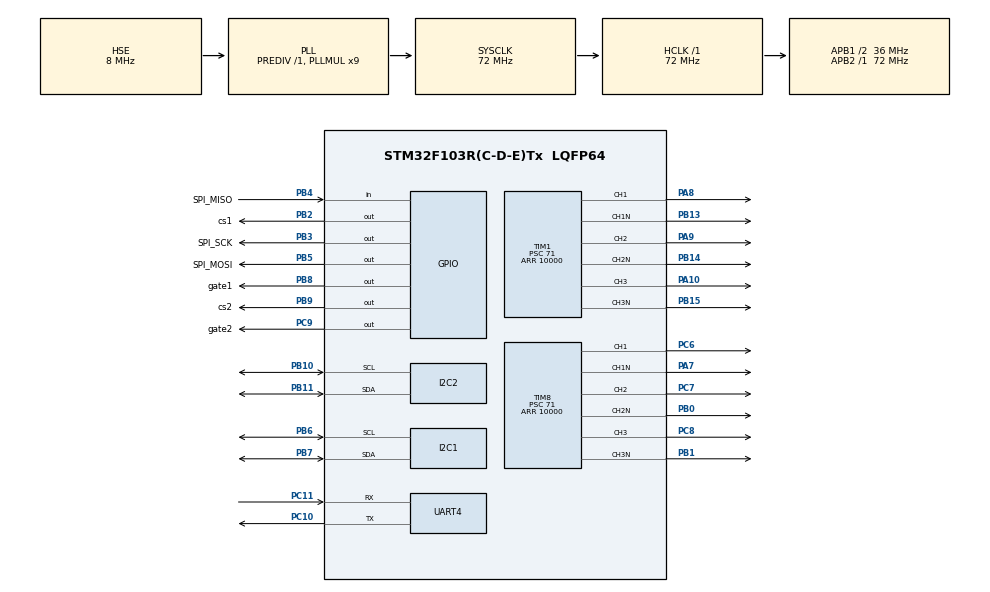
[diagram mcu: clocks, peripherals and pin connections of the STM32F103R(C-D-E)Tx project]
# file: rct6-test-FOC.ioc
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Mcu.Family=STM32F1
Mcu.Name=STM32F103R(C-D-E)Tx
Mcu.Package=LQFP64
NVIC.PriorityGroup=NVIC_PRIORITYGROUP_4
PA10.Signal=S_TIM1_CH3
PA13.Mode=Serial_Wire
PA13.Signal=SYS_JTMS-SWDIO
PA14.Mode=Serial_Wire
PA14.Signal=SYS_JTCK-SWCLK
PA7.Mode=PWM Generation1 CH1 CH1N
PA7.Signal=TIM8_CH1N
PA8.Signal=S_TIM1_CH1
PA9.Signal=S_TIM1_CH2
PB0.Mode=PWM Generation2 CH2 CH2N
PB0.Signal=TIM8_CH2N
PB1.Mode=PWM Generation3 CH3 CH3N
PB1.Signal=TIM8_CH3N
PB10.Mode=I2C
PB10.Signal=I2C2_SCL
PB11.Mode=I2C
PB11.Signal=I2C2_SDA
PB13.Mode=PWM Generation1 CH1 CH1N
PB13.Signal=TIM1_CH1N
PB14.Mode=PWM Generation2 CH2 CH2N
PB14.Signal=TIM1_CH2N
PB15.Mode=PWM Generation3 CH3 CH3N
PB15.Signal=TIM1_CH3N
PB2.GPIO_Label=cs1
PB2.PinState=GPIO_PIN_RESET
PB2.Signal=GPIO_Output
PB3.GPIO_Label=SPI_SCK
PB3.Signal=GPIO_Output
PB4.GPIO_Label=SPI_MISO
PB4.Signal=GPIO_Input
PB5.GPIO_Label=SPI_MOSI
PB5.Signal=GPIO_Output
PB6.Mode=I2C
PB6.Signal=I2C1_SCL
PB7.Mode=I2C
PB7.Signal=I2C1_SDA
PB8.GPIO_Label=gate1
PB8.PinState=GPIO_PIN_SET
PB8.Signal=GPIO_Output
PB9.GPIO_Label=cs2
PB9.PinState=GPIO_PIN_RESET
PB9.Signal=GPIO_Output
PC10.Mode=Asynchronous
PC10.Signal=UART4_TX
PC11.Mode=Asynchronous
PC11.Signal=UART4_RX
PC6.Signal=S_TIM8_CH1
PC7.Signal=S_TIM8_CH2
PC8.Signal=S_TIM8_CH3
PC9.GPIO_Label=gate2
PC9.PinState=GPIO_PIN_SET
PC9.Signal=GPIO_Output
PD0-OSC_IN.Mode=HSE-External-Oscillator
PD0-OSC_IN.Signal=RCC_OSC_IN
PD1-OSC_OUT.Mode=HSE-External-Oscillator
PD1-OSC_OUT.Signal=RCC_OSC_OUT
ProjectManager.HeapSize=0x200
ProjectManager.StackSize=0x400
ProjectManager.TargetToolchain=CMake
RCC.AHBFreq_Value=72000000
RCC.APB1CLKDivider=RCC_HCLK_DIV2
RCC.APB1Freq_Value=36000000
RCC.APB1TimFreq_Value=72000000
RCC.APB2Freq_Value=72000000
RCC.APB2TimFreq_Value=72000000
RCC.HCLKFreq_Value=72000000
RCC.PLLMUL=RCC_PLL_MUL9
RCC.PLLSourceVirtual=RCC_PLLSOURCE_HSE
RCC.SYSCLKFreq_VALUE=72000000
RCC.SYSCLKSource=RCC_SYSCLKSOURCE_PLLCLK
RCC.USBFreq_Value=72000000
SH.S_TIM1_CH1.0=TIM1_CH1,PWM Generation1 CH1 CH1N
SH.S_TIM1_CH2.0=TIM1_CH2,PWM Generation2 CH2 CH2N
SH.S_TIM1_CH3.0=TIM1_CH3,PWM Generation3 CH3 CH3N
SH.S_TIM8_CH1.0=TIM8_CH1,PWM Generation1 CH1 CH1N
SH.S_TIM8_CH2.0=TIM8_CH2,PWM Generation2 CH2 CH2N
SH.S_TIM8_CH3.0=TIM8_CH3,PWM Generation3 CH3 CH3N
TIM1.AutoReloadPreload=TIM_AUTORELOAD_PRELOAD_ENABLE
TIM1.Channel-PWM\ Generation1\ CH1\ CH1N=TIM_CHANNEL_1
TIM1.Channel-PWM\ Generation2\ CH2\ CH2N=TIM_CHANNEL_2
TIM1.Channel-PWM\ Generation3\ CH3\ CH3N=TIM_CHANNEL_3
TIM1.DeadTime=200
TIM1.Period=10000
TIM1.Prescaler=71
TIM8.AutoReloadPreload=TIM_AUTORELOAD_PRELOAD_ENABLE
TIM8.Channel-PWM\ Generation1\ CH1\ CH1N=TIM_CHANNEL_1
TIM8.Channel-PWM\ Generation2\ CH2\ CH2N=TIM_CHANNEL_2
TIM8.Channel-PWM\ Generation3\ CH3\ CH3N=TIM_CHANNEL_3
TIM8.Period=10000
TIM8.Prescaler=71
UART4.VirtualMode=Asynchronous
board=custom

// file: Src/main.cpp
/* USER CODE BEGIN Header */
/**
  ******************************************************************************
  * @file           : main.c
  * @brief          : Main program body
  ******************************************************************************
  * @attention
  *
  * Copyright (c) 2025 STMicroelectronics.
  * All rights reserved.
  *
  * This software is licensed under terms that can be found in the LICENSE file
  * in the root directory of this software component.
  * If no LICENSE file comes with this software, it is provided AS-IS.
  *
  ******************************************************************************
  */
/* USER CODE END Header */
#include "main.h"
#include "i2c.h"
#include "tim.h"
#include "usart.h"
#include "gpio.h"

/* USER CODE BEGIN Includes */
#include "as5600.h"
#include "stdio.h"
#include "string.h"
#include "../lib/simpleFOC-next/drivers/BLDCDriver3PWM.h"
#include "../lib/simpleFOC-next/BLDCMotor.hpp"
/* USER CODE END Includes */

/* USER CODE BEGIN PTD */
void SPI_GPIO_Transmit(uint16_t data, uint16_t* recv) { //第一边沿读取,第二边沿写入

  HAL_GPIO_WritePin(GPIO_PORT_SPI, SPI_SCK, GPIO_PIN_RESET);
  HAL_GPIO_WritePin(GPIO_PORT_SPI, SPI_MOSI, GPIO_PIN_RESET); //在发送之前拉低时钟和mosi
  // HAL_GPIO_WritePin(GPIO_PORT_SPI, SPI_CS, RESET); //选中芯片
  *recv = 0x00;
  for (int i = 15; i >= 0; i--) {
      // 写入 MSB 到 MOSI 引脚

      if (data & (1 << i)) {

          HAL_GPIO_WritePin(GPIO_PORT_SPI, SPI_SCK, GPIO_PIN_SET);  // SCK 置高
          // HAL_Delay(1);
          if (HAL_GPIO_ReadPin(GPIO_PORT_SPI, SPI_MISO) == GPIO_PIN_SET){
            *recv = *recv | (1 << i);
          }
          else{
            *recv = *recv | (0 << i);
          }
          HAL_GPIO_WritePin(GPIO_PORT_SPI, SPI_MOSI, GPIO_PIN_SET);
          HAL_GPIO_WritePin(GPIO_PORT_SPI, SPI_SCK, GPIO_PIN_RESET);  // SCK 置低
          // HAL_Delay(1);

      } else {

          HAL_GPIO_WritePin(GPIO_PORT_SPI, SPI_SCK, GPIO_PIN_SET);  // SCK 置高
          // HAL_Delay(1);
          if (HAL_GPIO_ReadPin(GPIO_PORT_SPI, SPI_MISO) == GPIO_PIN_SET){
            *recv = *recv | (1 << i);
          }
          else{
            *recv = *recv | (0 << i);
          }
          HAL_GPIO_WritePin(GPIO_PORT_SPI, SPI_MOSI, GPIO_PIN_RESET);
          HAL_GPIO_WritePin(GPIO_PORT_SPI, SPI_SCK, GPIO_PIN_RESET);  // SCK 置低
          // HAL_Delay(1);

      }
  }
}

void DRV8301_init(void){

  uint16_t spi_read_0 = 0x8000; //读取00
  uint16_t spi_read_1 = 0x8800; //读取01
  uint16_t spi_read_2 = 0x9000; //读取02
  uint16_t spi_read_3 = 0x9800; //读取03
  // uint16_t spi_write_2 = 0x1600; //写入2寄存器
  uint16_t spi_write_2 = 0x17C0; //写入2寄存器
  uint16_t spi_write_3 = 0x1600; //写入3寄存器
  uint16_t spi_recv[1] = {6};
  HAL_GPIO_WritePin(gate2_GPIO_Port, gate2_Pin, GPIO_PIN_SET);
  // HAL_GPIO_WritePin(gate2_GPIO_Port, gate2_Pin,GPIO_PIN_SET);
  HAL_GPIO_WritePin(cs2_GPIO_Port, cs2_Pin, GPIO_PIN_RESET);
  HAL_GPIO_WritePin(cs2_GPIO_Port, cs2_Pin, GPIO_PIN_SET);
  while (spi_recv[0] != spi_write_2){
    HAL_GPIO_WritePin(cs2_GPIO_Port, cs2_Pin, GPIO_PIN_RESET);
    SPI_GPIO_Transmit(spi_write_2, spi_recv);
    HAL_GPIO_WritePin(cs2_GPIO_Port, cs2_Pin, GPIO_PIN_SET);
    HAL_GPIO_WritePin(cs2_GPIO_Port, cs2_Pin, GPIO_PIN_RESET);
    SPI_GPIO_Transmit(spi_read_2, spi_recv);
    HAL_GPIO_WritePin(cs2_GPIO_Port, cs2_Pin, GPIO_PIN_SET);
    HAL_GPIO_WritePin(cs2_GPIO_Port, cs2_Pin, GPIO_PIN_RESET);
    SPI_GPIO_Transmit(spi_read_2, spi_recv);
    HAL_GPIO_WritePin(cs2_GPIO_Port, cs2_Pin, GPIO_PIN_SET);
  }
  // spi_recv[0] = 6;

  // while (spi_recv[0] != 0x1600){
  //   HAL_GPIO_WritePin(cs2_GPIO_Port, cs2_Pin, GPIO_PIN_RESET);
  //   SPI_GPIO_Transmit(spi_write_2, spi_recv);
  //   HAL_GPIO_WritePin(cs2_GPIO_Port, cs2_Pin, GPIO_PIN_SET);
  //   HAL_GPIO_WritePin(cs2_GPIO_Port, cs2_Pin, GPIO_PIN_RESET);
  //   SPI_GPIO_Transmit(spi_read_2, spi_recv);
  //   HAL_GPIO_WritePin(cs2_GPIO_Port, cs2_Pin, GPIO_PIN_SET);
  //   HAL_GPIO_WritePin(cs2_GPIO_Port, cs2_Pin, GPIO_PIN_RESET);
  //   SPI_GPIO_Transmit(spi_read_2, spi_recv);
  //   HAL_GPIO_WritePin(cs2_GPIO_Port, cs1_Pin, GPIO_PIN_SET);
  // }
}

int fputc(int ch, FILE *f)

{

  HAL_UART_Transmit(&huart4, (uint8_t *)&ch, 1, 0xffff);

  return ch;

}

/* USER CODE END PTD */

void SystemClock_Config(void);

int main(void)
{

  /* MCU Configuration--------------------------------------------------------*/

  /* Reset of all peripherals, Initializes the Flash interface and the Systick. */
  HAL_Init();

  /* Configure the system clock */
  SystemClock_Config();

  /* Initialize all configured peripherals */
  MX_GPIO_Init();
  MX_I2C1_Init();
  MX_I2C2_Init();
  MX_UART4_Init();
  MX_TIM1_Init();
  MX_TIM8_Init();
  /* USER CODE BEGIN 2 */

  bsp_as5600Init();

  float angle = 0;
  int angle_int = 0;
  char angle_str[20];
  uint16_t raw_angle = 0;

  BLDCMotor _test_motor(7);

  BLDCDriver3PWM _test_driver(&htim8, 0, 0, 0);
  _test_driver.init();

  _test_motor.linkDriver(&_test_driver);
  // DRV8301_init(); //初始化DRV8301,目前调试旋转编码器,暂时停用

  /* USER CODE END 2 */

  /* Infinite loop */
  /* USER CODE BEGIN WHILE */
  while (1)
  {
    angle = getasSensorAngle();
    // raw_angle = bsp_as5600GetRawAngle();

    // angle_int = (int)angle ;
    sprintf(angle_str, "%f\n", angle);
    // sprintf(angle_str, "%d\n", raw_angle);

    HAL_Delay(100);

    /* USER CODE END WHILE */

  }
}

void SystemClock_Config(void)
{
  RCC_OscInitTypeDef RCC_OscInitStruct = {0};
  RCC_ClkInitTypeDef RCC_ClkInitStruct = {0};

  /** Initializes the RCC Oscillators according to the specified parameters
  * in the RCC_OscInitTypeDef structure.
  */
  RCC_OscInitStruct.OscillatorType = RCC_OSCILLATORTYPE_HSE;
  RCC_OscInitStruct.HSEState = RCC_HSE_ON;
  RCC_OscInitStruct.HSEPredivValue = RCC_HSE_PREDIV_DIV1;
  RCC_OscInitStruct.HSIState = RCC_HSI_ON;
  RCC_OscInitStruct.PLL.PLLState = RCC_PLL_ON;
  RCC_OscInitStruct.PLL.PLLSource = RCC_PLLSOURCE_HSE;
  RCC_OscInitStruct.PLL.PLLMUL = RCC_PLL_MUL9;
  if (HAL_RCC_OscConfig(&RCC_OscInitStruct) != HAL_OK)
  {
    Error_Handler();
  }

  /** Initializes the CPU, AHB and APB buses clocks
  */
  RCC_ClkInitStruct.ClockType = RCC_CLOCKTYPE_HCLK|RCC_CLOCKTYPE_SYSCLK
                              |RCC_CLOCKTYPE_PCLK1|RCC_CLOCKTYPE_PCLK2;
  RCC_ClkInitStruct.SYSCLKSource = RCC_SYSCLKSOURCE_PLLCLK;
  RCC_ClkInitStruct.AHBCLKDivider = RCC_SYSCLK_DIV1;
  RCC_ClkInitStruct.APB1CLKDivider = RCC_HCLK_DIV2;
  RCC_ClkInitStruct.APB2CLKDivider = RCC_HCLK_DIV1;

  if (HAL_RCC_ClockConfig(&RCC_ClkInitStruct, FLASH_LATENCY_2) != HAL_OK)
  {
    Error_Handler();
  }
}

void Error_Handler(void)
{
  __disable_irq();
  while (1)
  {
  }
}
